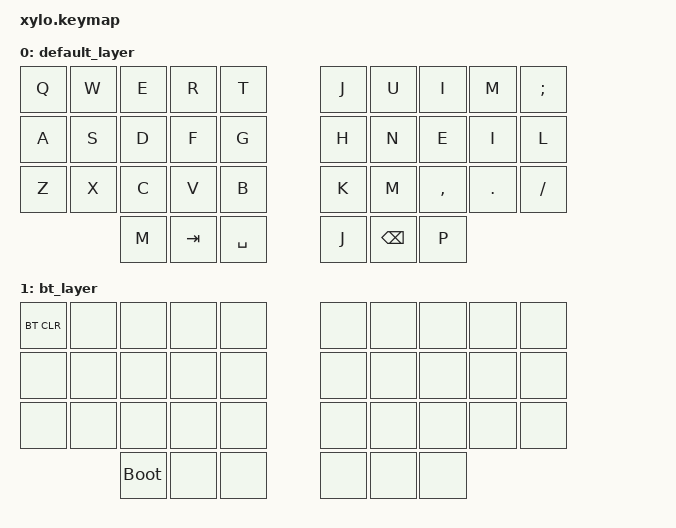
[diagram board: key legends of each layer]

#include <behaviors.dtsi>
#include <dt-bindings/zmk/keys.h>
#include <dt-bindings/zmk/bt.h>
#include <dt-bindings/zmk/outputs.h>

/ {
    keymap {
        compatible = "zmk,keymap";

        default_layer {
            bindings = <
        &kp Q       &kp W       &kp E       &kp R       &kp T           &kp J       &kp U       &kp I       &kp M       &kp SEMI
        &kp A       &kp S       &kp D       &kp F       &kp G           &kp H       &kp N       &kp E       &kp I       &kp L
        &kp Z       &kp X       &kp C       &kp V       &kp B           &kp K       &kp M       &kp COMMA   &kp DOT     &kp FSLH
        &kp M                               &kp TAB     &kp SPACE       &kp J       &kp BSPC                            &kp P
            >;
        };

        bt_layer {
            bindings = <
        &bt BT_CLR  &none       &none       &none       &none           &none       &none       &none       &none       &none
        &none       &none       &none       &none       &none           &none       &none       &none       &none       &none
        &none       &none       &none       &none       &none           &none       &none       &none       &none       &none
        &bootloader                         &none       &none           &none       &none                               &none
            >;
        };
    };
};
